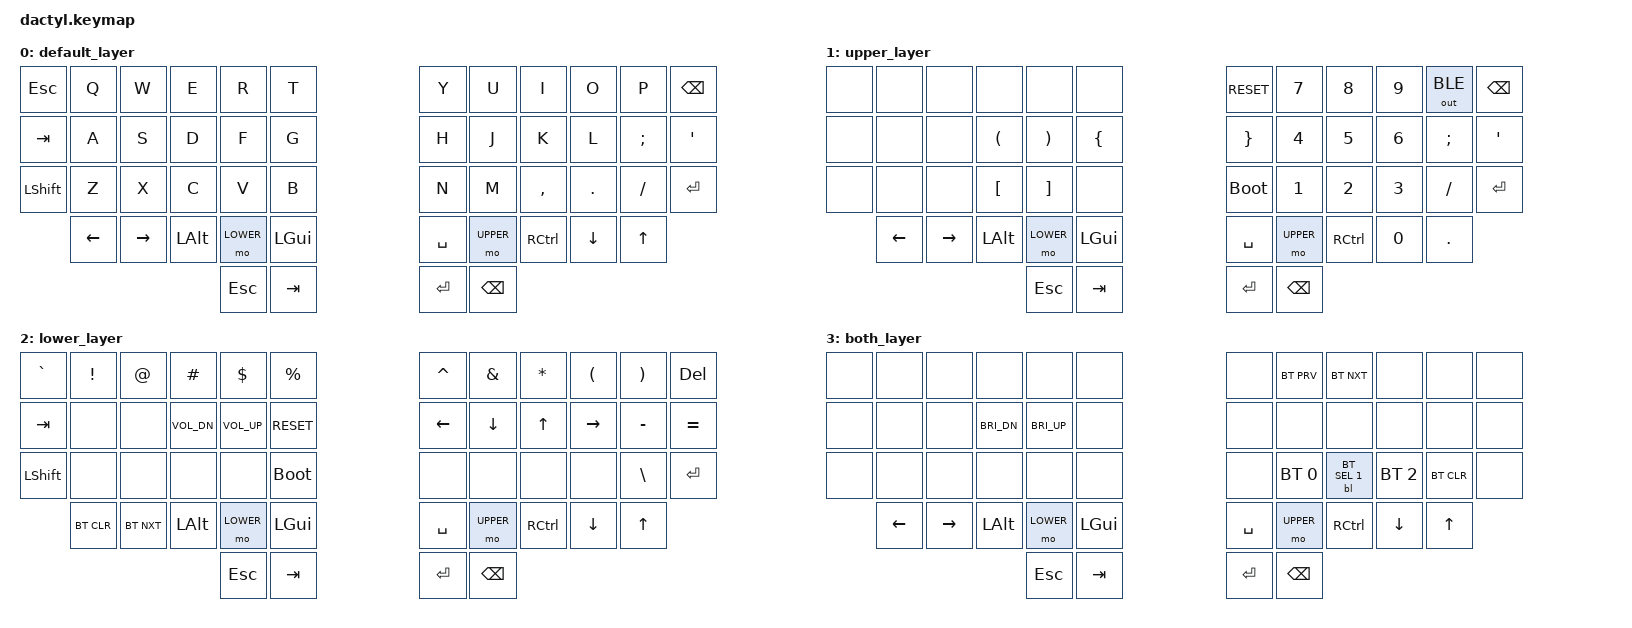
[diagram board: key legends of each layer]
#include <behaviors.dtsi>
#include <dt-bindings/zmk/bt.h>
#include <dt-bindings/zmk/keys.h>
#include <dt-bindings/zmk/outputs.h>

#define DEFUALT 0
#define UPPER 1
#define LOWER 2
#define BOTH 3

/ {

    conditional_layers {
        compatible = "zmk,conditional-layers";
        try_layer {
            if-layers = <1 2>;
            then-layer = <3>;
        };
    };

    keymap {
        compatible = "zmk,keymap";

        default_layer {
// --------------------------------------------------------------------------------------------------------------------------------------------------------------------
// |   ESC   |    Q    |    W    |    E    |    R    |    T    |                                          |    Y    |    U    |    I    |    O    |    P    |   BACK  |
// |   TAB   |    A    |    S    |    D    |    F    |    G    |                                          |    H    |    J    |    K    |    L    |    ;    |    '    |
// |  SHIFT  |    Z    |    X    |    C    |    V    |    B    |                                          |    N    |    M    |    ,    |    .    |    /    |  RETURN |
//           |   LEFT  |  RIGHT  |   ALT   |  LOWER  |   CMD   |                                          |  SPACE  |  UPPER  |   CTRL  |   DOWN  |    UP   |
//                                         |   ESC   |   TAB   |                                          |  RETURN |  BACK   |
            bindings = <
    &kp ESC    &kp Q    &kp W      &kp E    &kp R     &kp T                                                 &kp Y     &kp U     &kp I     &kp O    &kp P     &kp BSPC
    &kp TAB    &kp A    &kp S      &kp D    &kp F     &kp G                                                 &kp H     &kp J     &kp K     &kp L    &kp SEMI  &kp SQT
    &kp LSHIFT &kp Z    &kp X      &kp C    &kp V     &kp B                                                 &kp N     &kp M     &kp COMMA &kp DOT  &kp FSLH  &kp RET
               &kp LEFT &kp RIGHT  &kp LALT &mo LOWER &kp LGUI                                              &kp SPACE &mo UPPER &kp RCTRL &kp DOWN &kp UP
                                            &kp ESC   &kp TAB                                               &kp RET   &kp BSPC
            >;

        };

        upper_layer {
// --------------------------------------------------------------------------------------------------------------------------------------------------------------------
// |         |         |         |         |         |         |                                          |  RESET  |    7    |    8    |    9    |         |   BACK  |
// |         |         |         |    (    |    )    |    {    |                                          |    }    |    4    |    5    |    6    |    ;    |    '    |
// |         |         |         |    [    |    ]    |         |                                          |  BOOT   |    1    |    2    |    3    |    /    |  RETURN |
//           |   LEFT  |  RIGHT  |   ALT   |  LOWER  |   CMD   |                                          |  SPACE  |  UPPER  |   CTRL  |    0    |    .    |
//                                         |   ESC   |   TAB   |                                          |  RETURN |  BACK   |
            bindings = <
    &none      &none    &none      &none    &none     &none                                                 &kp C_RESET &kp N7    &kp N8    &kp N9   &out OUT_BLE  &kp BSPC
    &none      &none    &none      &kp LPAR &kp RPAR  &kp LBRC                                              &kp RBRC    &kp N4    &kp N5    &kp N6   &kp SEMI  &kp SQT
    &none      &none    &none      &kp LBKT &kp RBKT  &none                                                 &bootloader &kp N1    &kp N2    &kp N3   &kp FSLH  &kp RET
               &kp LEFT &kp RIGHT  &kp LALT &mo LOWER &kp LGUI                                              &kp SPACE   &mo UPPER &kp RCTRL &kp N0   &kp DOT
                                            &kp ESC   &kp TAB                                               &kp RET   &kp BSPC
            >;

        };


        lower_layer {
// --------------------------------------------------------------------------------------------------------------------------------------------------------------------
// |    `    |    !    |    @    |    #    |    $    |    %    |                                          |    ^    |    &    |    *    |    (    |    )    |   DEL   |
// |         |         |         |    (    |    )    |    {    |                                          |    }    |    4    |    UP   |  RIGHT  |    -    |    =    |
// |         |         |         |    [    |    ]    |         |                                          |  BOOT   |    1    |    2    |    3    |    /    |  RETURN |
//           |   LEFT  |  RIGHT  |   ALT   |  LOWER  |   CMD   |                                          |  SPACE  |  UPPER  |   CTRL  |    0    |    .    |
//                                         |   ESC   |   TAB   |                                          |  RETURN |  BACK   |
            bindings = <
    &kp GRAVE  &kp EXCL   &kp AT     &kp HASH     &kp DLLR     &kp PRCNT                                     &kp CARET &kp AMPS   &kp STAR  &kp LPAR  &kp RPAR  &kp DEL
    &kp TAB    &none      &none      &kp K_VOL_DN &kp K_VOL_UP &kp C_RESET                                   &kp LEFT  &kp DOWN   &kp UP    &kp RIGHT &kp MINUS &kp EQUAL
    &kp LSHIFT &none      &none      &none        &none        &bootloader                                   &none     &none      &none     &none     &kp BSLH  &kp RET
               &bt BT_CLR &bt BT_NXT &kp LALT     &mo LOWER    &kp LGUI                                      &kp SPACE &mo UPPER  &kp RCTRL &kp DOWN  &kp UP
                                                  &kp ESC      &kp TAB                                       &kp RET   &kp BSPC
            >;

        };

        both_layer {
// --------------------------------------------------------------------------------------------------------------------------------------------------------------------
// |         |         |         |         |         |         |                                          |    Y    |  BT_PRV |  BT_NXT |         |         |         |
// |         |         |         |  BRI_DN |  BRI_UP |         |                                          |    H    |         |         |         |         |         |
// |         |         |         |         |         |         |                                          |    N    |   BT0   |   BT1   |   BT2   |         |         |
//           |   LEFT  |  RIGHT  |   ALT   |  LOWER  |   CMD   |                                          |  SPACE  |  UPPER  |   CTRL  |   DOWN  |   UP    |
//                                         |   ESC   |   TAB   |                                          |  RETURN |  BACK   |
            bindings = <
    &none       &none      &none   &none       &none     &none                                               &none     &bt BT_PRV   &bt BT_NXT   &none        &none  &none
    &none       &none      &none   &kp C_BRI_DN &kp C_BRI_UP &none                                           &none     &none        &none        &none        &none  &none
    &none       &none      &none   &none       &none     &none                                               &none     &bt BT_SEL 0 &bl BT_SEL 1 &bt BT_SEL 2 &bt BT_CLR  &none
                &kp LEFT &kp RIGHT &kp LALT    &mo LOWER &kp LGUI                                            &kp SPACE &mo UPPER    &kp RCTRL    &kp DOWN     &kp UP
                                               &kp ESC   &kp TAB                                             &kp RET   &kp BSPC
            >;

        };
    };
};
